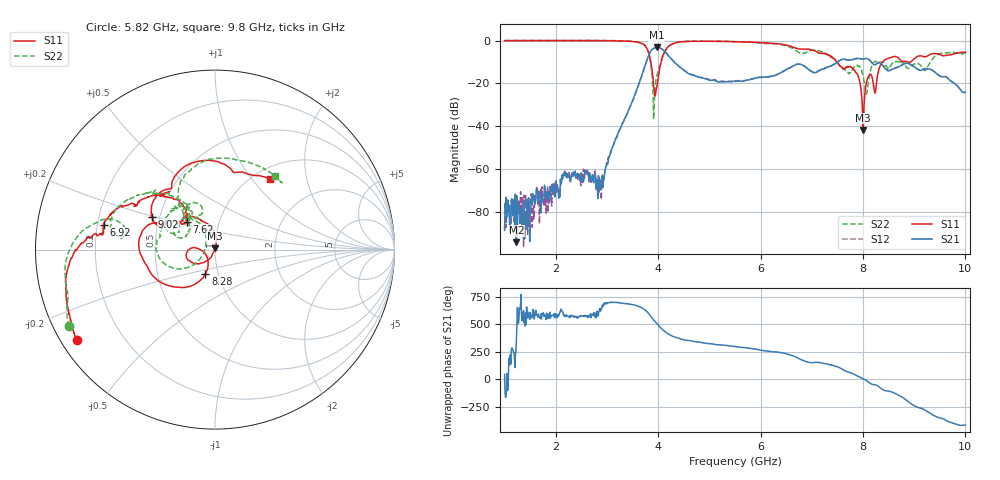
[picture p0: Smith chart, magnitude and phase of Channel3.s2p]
!Agilent Technologies,N5227A,US51270477,A.10.00.00
!File generated by LCAF-GAM-UPV software
!josevmart@iteam.upv.es
!S2P File: Measurements: S11, S21, S12, S22:
# Hz S  dB  R 50
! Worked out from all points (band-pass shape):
!   901 points, 1 GHz to 10 GHz, reference 50 ohm
!   highest |S21| = -3.18 dB at 3.97 GHz (marker M1); lowest = -94.2 dB at 1.23 GHz (marker M2)
!   |S21| within 3 dB of the highest: 3.828 GHz to 4.169 GHz (340.5 MHz wide, 8.51 % of centre)
!   lowest |S11| = -41.8 dB at 8 GHz (marker M3), VSWR 1.02, Z = 49.8 + j0.785 ohm
!   |S11| at or under -10 dB: 3.854 GHz to 4.056 GHz (202 MHz wide, 5.11 % of centre); 7.492 GHz to 8.382 GHz (889.9 MHz wide, 11.2 % of centre); 8.868 GHz to 8.93 GHz (61.34 MHz wide, 0.689 % of centre)
!   |S22| runs from -36.7 to 0.1 dB; largest |S21 - S12| = 0.034
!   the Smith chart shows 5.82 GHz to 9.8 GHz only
!   S11 on the Smith chart (normalised r, x): 5.82 GHz: 0.05, -0.30; 6.92 GHz: 0.23, +0.11; 7.62 GHz: 0.70, +0.23; 8.28 GHz: 0.87, -0.24; 9.02 GHz: 0.45, +0.20; 9.8 GHz: 1.18, +1.24
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1e9  0.01 -28.1  -88.62 42.7  -88.70 33.7  0.02 -28.4
1.23e9  0.01 -34.5  -94.23 -16.6  -79.80 -137.2  0.03 -35.0
2.5e9  0.01 -71.4  -64.30 -142.4  -65.07 -144.2  0.06 -72.7
2.86e9  0.00 -82.9  -69.29 -75.6  -69.42 -57.3  0.06 -84.9
3.72e9  -1.86 -144.6  -13.52 -81.9  -13.55 -81.6  -1.80 -149.2
3.91e9  -21.30 179.3  -3.63 177.8  -3.61 -179.5  -36.70 163.0
3.97e9  -21.92 -66.3  -3.18 147.1  -3.18 147.4  -16.72 -52.4
4e9  -17.56 -39.2  -3.24 131.7  -3.26 131.3  -14.25 -44.2
4.17e9  -3.44 -49.1  -6.22 58.7  -6.11 59.8  -3.58 -51.8
4.44e9  -0.53 -84.8  -12.69 5.5  -12.68 6.1  -0.55 -86.7
5.5e9  -0.55 -133.9  -19.03 -63.3  -19.07 -63.0  -0.43 -137.7
5.82e9  -0.73 -146.6  -17.76 -81.5  -17.95 -80.7  -0.72 -152.3
6.92e9  -3.94 167.3  -13.15 155.5  -13.12 154.3  -5.21 171.9
7e9  -4.37 159.3  -14.44 149.3  -14.60 151.5  -4.48 167.7
7.62e9  -13.15 134.9  -8.60 83.7  -8.65 85.4  -13.14 135.5
7.88e9  -15.47 112.5  -8.29 32.0  -8.34 32.6  -11.48 150.2
8e9  -41.77 104.8  -8.54 4.7  -8.51 3.9  -16.47 118.3
8.28e9  -16.85 -111.6  -10.56 -59.3  -10.56 -58.8  -9.65 170.5
8.5e9  -8.22 -165.4  -14.14 -109.0  -13.96 -110.8  -13.10 153.7
9.02e9  -8.04 152.7  -12.59 113.0  -12.44 111.8  -10.77 125.2
9.8e9  -6.02 52.2  -20.22 -46.9  -20.38 -44.2  -5.55 51.1
1e10  -5.41 23.7  -24.07 -56.7  -24.16 -57.4  -5.65 24.1
